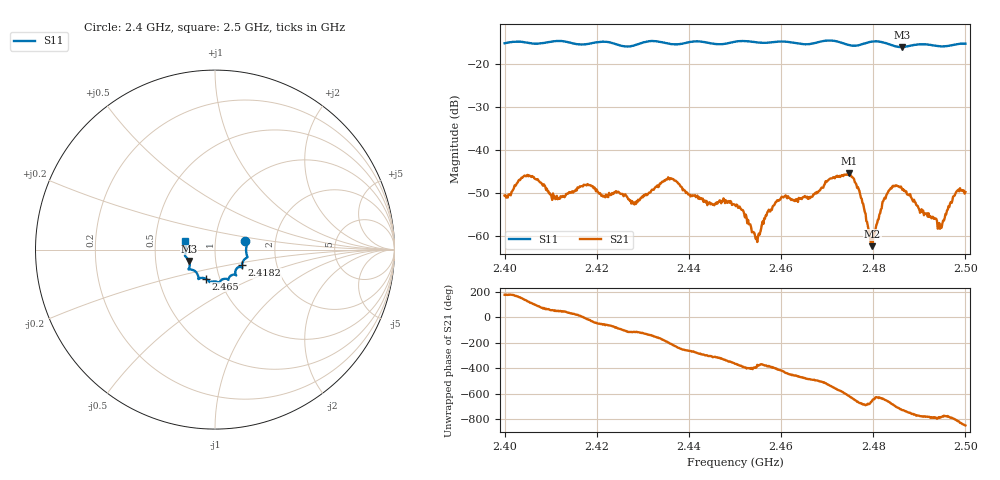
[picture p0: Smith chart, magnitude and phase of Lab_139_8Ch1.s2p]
# Hz S RI R 50
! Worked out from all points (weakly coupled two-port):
!   601 points, 2.4 GHz to 2.5 GHz, reference 50 ohm
!   highest |S21| = -45.43 dB at 2.4748 GHz (marker M1); lowest = -62.4 dB at 2.4798 GHz (marker M2)
!   lowest |S11| = -16.0 dB at 2.4862 GHz (marker M3), VSWR 1.38, Z = 37.1 - j4.83 ohm
!   |S11| at or under -10 dB: start of sweep to end of sweep
!   S12 and S22 are empty: the file has one direction only
!   S11 on the Smith chart (normalised r, x): 2.4 GHz: 1.40, +0.13; 2.4182 GHz: 1.33, -0.23; 2.465 GHz: 0.86, -0.29; 2.5 GHz: 0.71, +0.07
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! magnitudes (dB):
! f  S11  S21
! 2.4 GHz  -15.1  -50.6
! 2.4048 GHz  -15.0  -45.9
! 2.4115 GHz  -14.6  -51.4
! 2.4167 GHz  -15.4  -48.4
! 2.4182 GHz  -15.3  -48.1
! 2.428 GHz  -15.7  -52.3
! 2.4333 GHz  -14.7  -48.6
! 2.436 GHz  -15.3  -46.5
! 2.4437 GHz  -14.9  -52.2
! 2.45 GHz  -14.8  -52.7
! 2.4548 GHz  -14.9  -61.4
! 2.4592 GHz  -14.8  -51.7
! 2.465 GHz  -15.4  -50.9
! 2.4667 GHz  -15.2  -50.9
! 2.4748 GHz  -15.6  -45.4
! 2.477 GHz  -15.6  -49.5
! 2.4798 GHz  -14.7  -62.4
! 2.4833 GHz  -15.3  -49.5
! 2.4862 GHz  -16.0  -48.8
! 2.4945 GHz  -15.9  -58.3
! 2.4978 GHz  -15.4  -50.1
! 2.5 GHz  -15.2  -49.8
